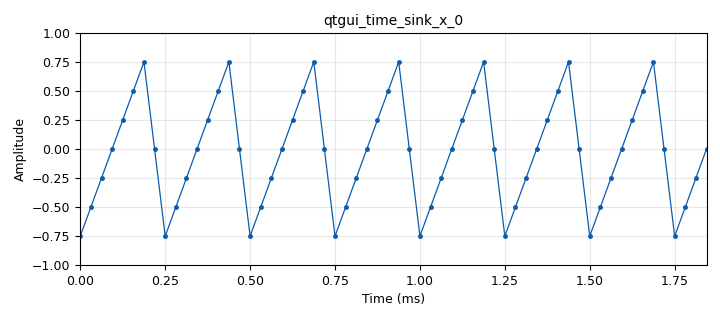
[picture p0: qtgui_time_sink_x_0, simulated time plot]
<?xml version='1.0' encoding='utf-8'?>
<?grc format='1' created='3.7.7'?>
<flow_graph>
<block>
<key>options</key>
<param><key>id</key><value>vector_source_with_tags</value></param>
<param><key>description</key><value>Shows how to use tags in a vector_source</value></param>
<param><key>generate_options</key><value>qt_gui</value></param>
<param><key>category</key><value>Custom</value></param>
</block>
<block>
<key>variable</key>
<param><key>id</key><value>samp_rate</value></param>
<param><key>value</key><value>32000</value></param>
</block>
<block>
<key>import</key>
<param><key>id</key><value>import_pmt</value></param>
<param><key>import</key><value>import pmt</value></param>
</block>
<block>
<key>blocks_throttle</key>
<param><key>id</key><value>blocks_throttle_0</value></param>
<param><key>type</key><value>float</value></param>
<param><key>samples_per_second</key><value>samp_rate</value></param>
</block>
<block>
<key>blocks_vector_source_x</key>
<param><key>id</key><value>blocks_vector_source_x_0</value></param>
<param><key>type</key><value>float</value></param>
<param><key>vector</key><value>(-0.75, -0.5, -0.25, 0.0, 0.25, 0.5, 0.75, 0.0)</value></param>
<param><key>tags</key><value>[tag0, tag1]</value></param>
<param><key>repeat</key><value>True</value></param>
</block>
<block>
<key>qtgui_time_sink_x</key>
<param><key>id</key><value>qtgui_time_sink_x_0</value></param>
<param><key>type</key><value>float</value></param>
<param><key>size</key><value>60</value></param>
<param><key>srate</key><value>samp_rate</value></param>
<param><key>grid</key><value>True</value></param>
<param><key>tr_mode</key><value>qtgui.TRIG_MODE_TAG</value></param>
<param><key>tr_tag</key><value>mark</value></param>
<param><key>label1</key><value></value></param>
<param><key>color1</key><value>"blue"</value></param>
<param><key>marker1</key><value>0</value></param>
</block>
<block>
<key>variable_tag_object</key>
<param><key>id</key><value>tag0</value></param>
<param><key>offset</key><value>0</value></param>
<param><key>key</key><value>pmt.intern("mark")</value></param>
<param><key>value</key><value>pmt.PMT_T</value></param>
<param><key>src</key><value>pmt.intern("src")</value></param>
</block>
<block>
<key>variable_qtgui_range</key>
<param><key>id</key><value>tag1_offset</value></param>
<param><key>label</key><value>Tag 1 Offset</value></param>
<param><key>value</key><value>2</value></param>
<param><key>start</key><value>0</value></param>
<param><key>stop</key><value>10</value></param>
<param><key>step</key><value>1</value></param>
<param><key>orient</key><value>Qt.Horizontal</value></param>
</block>
<block>
<key>variable_tag_object</key>
<param><key>id</key><value>tag1</value></param>
<param><key>offset</key><value>tag1_offset</value></param>
<param><key>key</key><value>pmt.intern("mark2")</value></param>
<param><key>value</key><value>pmt.from_long(12345)</value></param>
<param><key>src</key><value>pmt.intern("tag1")</value></param>
</block>
<block>
<key>blocks_tag_debug</key>
<param><key>id</key><value>blocks_tag_debug_0</value></param>
<param><key>_enabled</key><value>False</value></param>
<param><key>type</key><value>float</value></param>
</block>
<connection><source_block_id>blocks_throttle_0</source_block_id><sink_block_id>qtgui_time_sink_x_0</sink_block_id><source_key>0</source_key><sink_key>0</sink_key></connection>
<connection><source_block_id>blocks_vector_source_x_0</source_block_id><sink_block_id>blocks_throttle_0</sink_block_id><source_key>0</source_key><sink_key>0</sink_key></connection>
<connection><source_block_id>blocks_throttle_0</source_block_id><sink_block_id>blocks_tag_debug_0</sink_block_id><source_key>0</source_key><sink_key>0</sink_key></connection>
</flow_graph>
